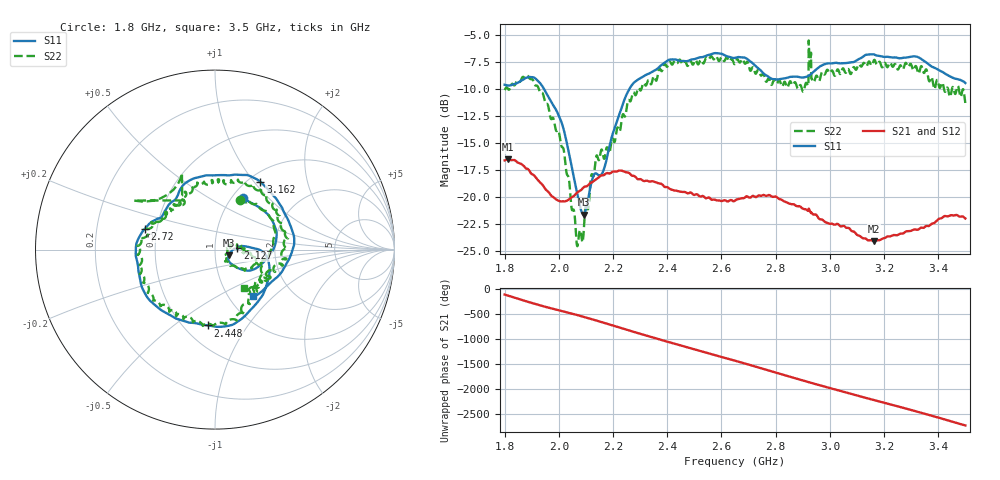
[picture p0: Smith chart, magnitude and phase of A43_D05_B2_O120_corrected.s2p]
! Created with skrf 1.9.0 (http://scikit-rf.org).
# Hz S RI R 50.0
!freq ReS11 ImS11 ReS21 ImS21 ReS12 ImS12 ReS22 ImS22
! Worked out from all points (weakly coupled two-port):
!   1601 points, 1.8 GHz to 3.5 GHz, reference 50 ohm
!   highest |S21| = -16.56 dB at 1.812 GHz (marker M1); lowest = -24.1 dB at 3.163 GHz (marker M2)
!   lowest |S11| = -21.7 dB at 2.091 GHz (marker M3), VSWR 1.18, Z = 58.1 - j3.67 ohm
!   |S11| at or under -10 dB: 1.945 GHz to 2.261 GHz (316.4 MHz wide, 15 % of centre)
!   |S22| runs from -24.6 to -5.5 dB; largest |S21 - S12| = 0.0024
!   S11 on the Smith chart (normalised r, x): 1.8 GHz: 1.12, +0.73; 2.127 GHz: 1.28, +0.02; 2.448 GHz: 0.65, -0.67; 2.72 GHz: 0.43, +0.12; 3.162 GHz: 1.13, +1.08; 3.5 GHz: 1.29, -0.75
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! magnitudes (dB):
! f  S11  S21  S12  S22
! 1.8 GHz  -9.6  -16.6  -16.6  -10.1
! 1.812 GHz  -9.7  -16.6  -16.6  -10.0
! 1.884 GHz  -9.0  -17.4  -17.4  -8.8
! 1.94 GHz  -9.8  -18.9  -18.9  -10.4
! 2.013 GHz  -13.3  -20.4  -20.4  -15.4
! 2.066 GHz  -19.4  -19.7  -19.7  -24.2
! 2.084 GHz  -21.4  -19.3  -19.3  -23.7
! 2.091 GHz  -21.7  -19.1  -19.2  -23.5
! 2.127 GHz  -18.1  -18.6  -18.6  -18.1
! 2.164 GHz  -17.6  -18.0  -17.9  -16.3
! 2.262 GHz  -10.0  -17.9  -17.9  -11.2
! 2.367 GHz  -8.1  -18.8  -18.7  -8.4
! 2.448 GHz  -7.4  -19.5  -19.5  -7.4
! 2.65 GHz  -7.2  -20.4  -20.3  -7.7
! 2.72 GHz  -7.8  -20.0  -19.9  -8.2
! 2.9 GHz  -9.0  -21.1  -21.1  -10.3
! 2.934 GHz  -8.6  -21.5  -21.5  -9.1
! 3.162 GHz  -6.8  -24.1  -24.0  -7.4
! 3.163 GHz  -6.8  -24.1  -24.1  -7.4
! 3.217 GHz  -7.1  -23.7  -23.6  -7.8
! 3.342 GHz  -7.3  -22.9  -22.8  -8.2
! 3.5 GHz  -9.5  -22.0  -22.0  -11.4
